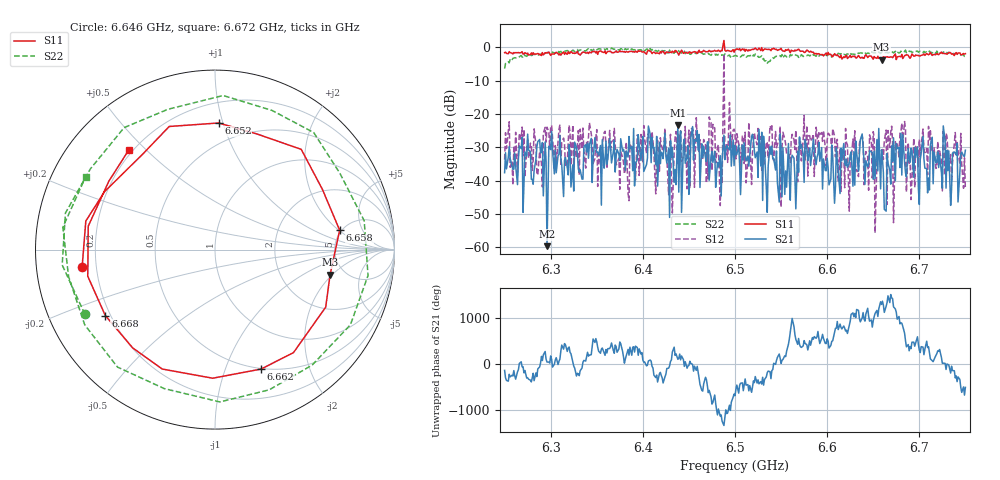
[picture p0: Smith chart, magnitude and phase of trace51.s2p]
# Hz S RI R 50
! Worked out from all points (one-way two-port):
!   401 points, 6.25 GHz to 6.75 GHz, reference 50 ohm
!   highest |S21| = -23.36 dB at 6.438 GHz (marker M1); lowest = -59.7 dB at 6.296 GHz (marker M2)
!   lowest |S11| = -3.7 dB at 6.659 GHz (marker M3), VSWR 4.82, Z = 192 - j94.5 ohm
!   |S11| at or under -10 dB: nowhere
!   |S22| runs from -6.3 to -0.1 dB; largest |S21 - S12| = 0.84
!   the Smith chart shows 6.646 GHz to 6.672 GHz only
!   S11 on the Smith chart (normalised r, x): 6.646 GHz: 0.15, -0.06; 6.652 GHz: 0.34, +0.97; 6.658 GHz: 4.82, +2.06; 6.662 GHz: 0.49, -1.34; 6.668 GHz: 0.18, -0.27; 6.672 GHz: 0.18, +0.44
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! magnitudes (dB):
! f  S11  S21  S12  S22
! 6.25 GHz  -1.6  -37.6  -33.7  -6.3
! 6.289 GHz  -2.2  -31.7  -33.6  -2.2
! 6.296 GHz  -1.7  -59.7  -24.0  -1.5
! 6.334 GHz  -1.6  -39.5  -30.5  -0.9
! 6.382 GHz  -1.2  -31.1  -28.4  -0.6
! 6.418 GHz  -1.9  -28.5  -37.2  -0.7
! 6.43 GHz  -1.3  -28.0  -26.1  -1.2
! 6.438 GHz  -1.7  -23.4  -34.9  -0.9
! 6.475 GHz  -1.1  -31.2  -36.9  -2.0
! 6.484 GHz  -1.3  -32.5  -47.5  -2.4
! 6.5 GHz  -0.6  -29.4  -25.8  -2.4
! 6.554 GHz  -1.2  -44.1  -27.5  -2.3
! 6.584 GHz  -1.5  -30.8  -27.1  -2.7
! 6.646 GHz  -2.5  -31.0  -26.3  -1.8
! 6.652 GHz  -3.0  -39.4  -55.8  -1.7
! 6.658 GHz  -3.1  -42.5  -35.1  -1.8
! 6.659 GHz  -3.7  -30.8  -34.6  -1.4
! 6.662 GHz  -2.9  -48.6  -28.0  -1.5
! 6.668 GHz  -2.9  -37.0  -30.1  -1.4
! 6.672 GHz  -2.7  -27.1  -52.6  -1.6
! 6.74 GHz  -1.5  -32.3  -30.4  -1.8
! 6.75 GHz  -1.9  -30.8  -42.7  -2.8
